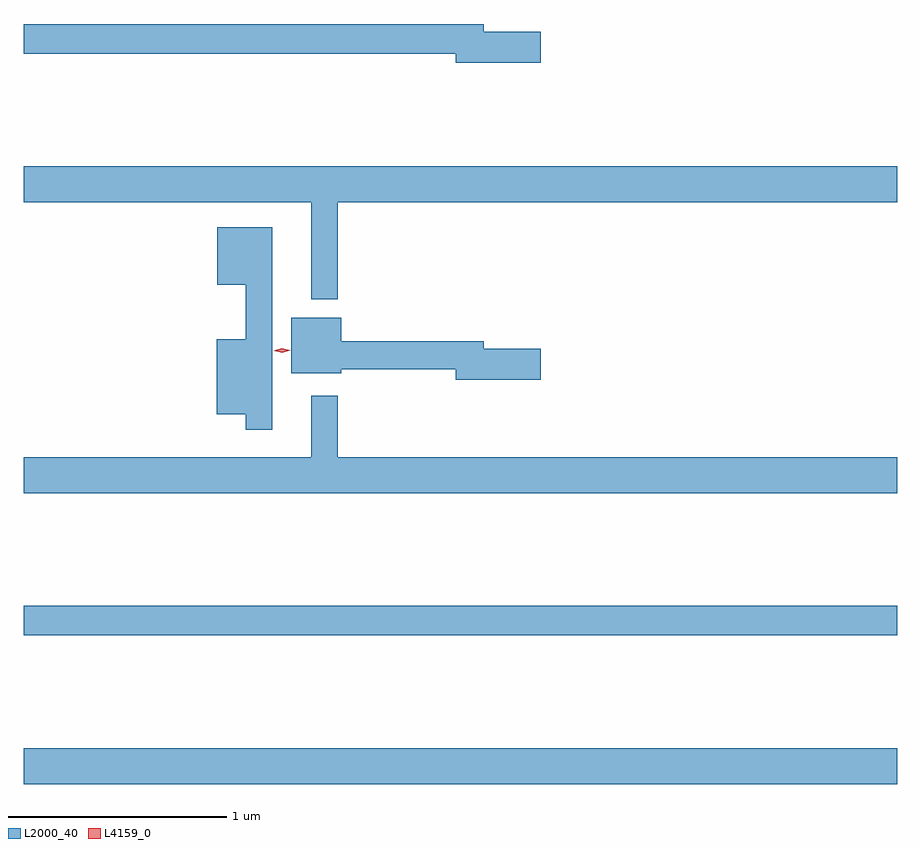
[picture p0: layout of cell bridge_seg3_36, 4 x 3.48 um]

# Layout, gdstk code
import gdstk
lib = gdstk.Library(unit=1e-6, precision=1e-09)
def R(c, l, rs):  # rectangles x0, y0, x1, y1
    for r in rs: c.add(gdstk.rectangle(r[:2], r[2:], *l))
def P(c, l, *ps):  # polygons
    for p in ps: c.add(gdstk.Polygon(p, *l))
L2000_40 = (2000, 40)
L4159_0 = (4159, 0)

bridge_seg3_36 = lib.new_cell('bridge_seg3_36')
R(bridge_seg3_36, L2000_40, [(779.637,690.26,783.637,690.424), (779.637,690.94,783.637,691.076)])
P(bridge_seg3_36, L2000_40, [(782.005,693.704),(781.744,693.704),(781.744,693.74),(779.637,693.74),(779.637,693.604),(781.616,693.604),(781.616,693.562),(782.005,693.562)],
  [(781.075,692.924),(783.637,692.924),(783.637,693.088),(779.637,693.088),(779.637,692.924),(780.953,692.924),(780.953,692.48),(781.075,692.48)],
  [(780.775,692.809),(780.524,692.809),(780.524,692.546),(780.654,692.546),(780.654,692.296),(780.521,692.296),(780.521,691.952),(780.654,691.952),(780.654,691.881),(780.775,691.881)],
  [(782.005,692.252),(781.744,692.252),(781.744,692.288),(781.09,692.288),(781.09,692.395),(780.863,692.395),(780.863,692.141),(781.09,692.141),(781.09,692.16),(781.616,692.16),(781.616,692.11),(782.005,692.11)],
  [(783.637,691.756),(781.075,691.756),(781.075,692.038),(780.953,692.038),(780.953,691.756),(779.637,691.756),(779.637,691.592),(783.637,691.592)])
P(bridge_seg3_36, L4159_0, [(780.82,692.235),(780.781,692.244),(780.78,692.244),(780.781,692.244),(780.819,692.255),(780.858,692.247),(780.858,692.247),(780.858,692.247)])

lib.write_gds('bridge_seg3_36.gds')
